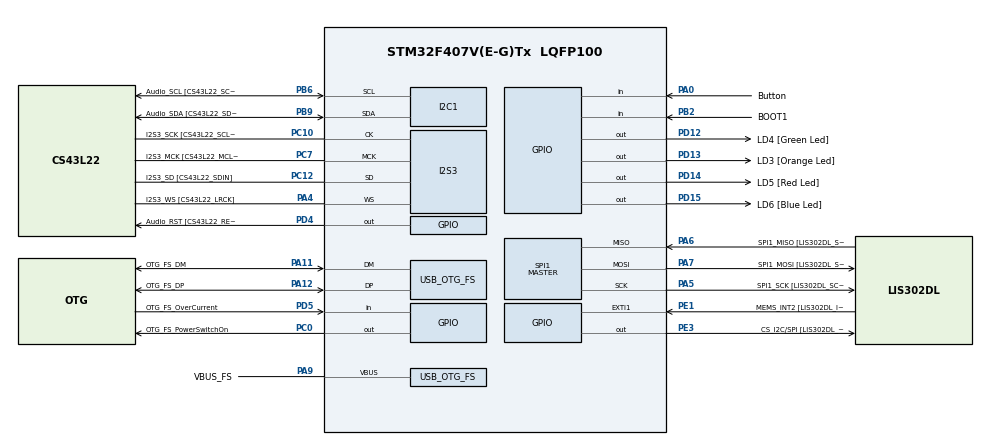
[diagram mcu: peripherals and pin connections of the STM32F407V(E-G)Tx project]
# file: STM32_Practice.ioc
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I2S3.AudioFreq-Half_Duplex_Master=I2S_AUDIOFREQ_96K
I2S3.ErrorAudioFreq=-2.34 %
I2S3.ErrorAudioFreq-Half_Duplex_Master=0.8 %
I2S3.FullDuplexMode=I2S_FULLDUPLEXMODE_DISABLE
I2S3.Instance=SPI$Index
I2S3.RealAudioFreq=93.75 KHz
I2S3.RealAudioFreq-Half_Duplex_Master=96.774 KHz
I2S3.VirtualMode=I2S_MODE_MASTER
Mcu.Family=STM32F4
Mcu.Name=STM32F407V(E-G)Tx
Mcu.Package=LQFP100
NVIC.OTG_FS_IRQn=true\:0\:0\:false\:false\:true\:true\:true\:true
NVIC.PriorityGroup=NVIC_PRIORITYGROUP_0
PA0-WKUP.GPIO_Label=Button
PA0-WKUP.Signal=GPIO_Input
PA10.GPIO_Label=OTG_FS_ID
PA10.GPIO_Mode=GPIO_MODE_AF_PP
PA10.GPIO_PuPd=GPIO_NOPULL
PA10.GPIO_Speed=GPIO_SPEED_FREQ_LOW
PA10.Signal=USB_OTG_FS_ID
PA11.GPIO_Label=OTG_FS_DM
PA11.GPIO_Mode=GPIO_MODE_AF_PP
PA11.GPIO_PuPd=GPIO_NOPULL
PA11.GPIO_Speed=GPIO_SPEED_FREQ_LOW
PA11.Mode=Host_Only
PA11.Signal=USB_OTG_FS_DM
PA12.GPIO_Label=OTG_FS_DP
PA12.GPIO_Mode=GPIO_MODE_AF_PP
PA12.GPIO_PuPd=GPIO_NOPULL
PA12.GPIO_Speed=GPIO_SPEED_FREQ_LOW
PA12.Mode=Host_Only
PA12.Signal=USB_OTG_FS_DP
PA13.GPIO_Label=SWDIO
PA13.Mode=Serial_Wire
PA13.Signal=SYS_JTMS-SWDIO
PA14.GPIO_Label=SWCLK
PA14.Mode=Serial_Wire
PA14.Signal=SYS_JTCK-SWCLK
PA4.GPIO_Label=I2S3_WS [CS43L22_LRCK]
PA4.GPIO_Mode=GPIO_MODE_AF_PP
PA4.GPIO_PuPd=GPIO_NOPULL
PA4.GPIO_Speed=GPIO_SPEED_FREQ_LOW
PA4.Mode=Half_Duplex_Master
PA4.Signal=I2S3_WS
PA5.GPIO_Label=SPI1_SCK [LIS302DL_SCL/SPC]
PA5.GPIO_Mode=GPIO_MODE_AF_PP
PA5.GPIO_PuPd=GPIO_NOPULL
PA5.GPIO_Speed=GPIO_SPEED_FREQ_LOW
PA5.Mode=Full_Duplex_Master
PA5.Signal=SPI1_SCK
PA6.GPIO_Label=SPI1_MISO [LIS302DL_SDO]
PA6.GPIO_Mode=GPIO_MODE_AF_PP
PA6.GPIO_PuPd=GPIO_NOPULL
PA6.GPIO_Speed=GPIO_SPEED_FREQ_LOW
PA6.Mode=Full_Duplex_Master
PA6.Signal=SPI1_MISO
PA7.GPIO_Label=SPI1_MOSI [LIS302DL_SDA/SDI/SDO]
PA7.GPIO_Mode=GPIO_MODE_AF_PP
PA7.GPIO_PuPd=GPIO_NOPULL
PA7.GPIO_Speed=GPIO_SPEED_FREQ_LOW
PA7.Mode=Full_Duplex_Master
PA7.Signal=SPI1_MOSI
PA9.GPIO_Label=VBUS_FS
PA9.GPIO_Mode=GPIO_MODE_INPUT
PA9.GPIO_PuPd=GPIO_NOPULL
PA9.Mode=Activate_VBUS
PA9.Signal=USB_OTG_FS_VBUS
PB10.GPIO_Label=CLK_IN [MP45DT02_CLK]
PB10.GPIO_Mode=GPIO_MODE_AF_PP
PB10.GPIO_PuPd=GPIO_NOPULL
PB10.GPIO_Speed=GPIO_SPEED_FREQ_LOW
PB10.Signal=I2S2_CK
PB2.GPIO_Label=BOOT1
PB2.GPIO_Mode=GPIO_MODE_INPUT
PB2.GPIO_PuPd=GPIO_NOPULL
PB2.Signal=GPIO_Input
PB3.GPIO_Label=SWO
PB3.Signal=SYS_JTDO-SWO
PB6.GPIO_Label=Audio_SCL [CS43L22_SCL]
PB6.GPIO_Mode=GPIO_MODE_AF_OD
PB6.GPIO_Pu=GPIO_PULLUP
PB6.GPIO_PuPd=GPIO_NOPULL
PB6.GPIO_Speed=GPIO_SPEED_FREQ_LOW
PB6.Mode=I2C
PB6.Signal=I2C1_SCL
PB9.GPIO_Label=Audio_SDA [CS43L22_SDA]
PB9.GPIO_Mode=GPIO_MODE_AF_OD
PB9.GPIO_Pu=GPIO_PULLUP
PB9.GPIO_PuPd=GPIO_NOPULL
PB9.GPIO_Speed=GPIO_SPEED_FREQ_LOW
PB9.Mode=I2C
PB9.Signal=I2C1_SDA
PC0.GPIO_Label=OTG_FS_PowerSwitchOn
PC0.GPIO_PuPd=GPIO_NOPULL
PC0.GPIO_Speed=GPIO_SPEED_FREQ_LOW
PC0.PinState=GPIO_PIN_SET
PC0.Signal=GPIO_Output
PC10.GPIO_Label=I2S3_SCK [CS43L22_SCLK]
PC10.GPIO_Mode=GPIO_MODE_AF_PP
PC10.GPIO_PuPd=GPIO_NOPULL
PC10.GPIO_Speed=GPIO_SPEED_FREQ_LOW
PC10.Mode=Half_Duplex_Master
PC10.Signal=I2S3_CK
PC12.GPIO_Label=I2S3_SD [CS43L22_SDIN]
PC12.GPIO_Mode=GPIO_MODE_AF_PP
PC12.GPIO_PuPd=GPIO_NOPULL
PC12.GPIO_Speed=GPIO_SPEED_FREQ_LOW
PC12.Mode=Half_Duplex_Master
PC12.Signal=I2S3_SD
PC14-OSC32_IN.GPIO_Label=PC14-OSC32_IN
PC14-OSC32_IN.Mode=LSE-External-Oscillator
PC14-OSC32_IN.Signal=RCC_OSC32_IN
PC15-OSC32_OUT.GPIO_Label=PC15-OSC32_OUT
PC15-OSC32_OUT.Mode=LSE-External-Oscillator
PC15-OSC32_OUT.Signal=RCC_OSC32_OUT
PC3.GPIO_Label=PDM_OUT [MP45DT02_DOUT]
PC3.GPIO_Mode=GPIO_MODE_AF_PP
PC3.GPIO_PuPd=GPIO_NOPULL
PC3.GPIO_Speed=GPIO_SPEED_FREQ_LOW
PC3.Signal=I2S2_SD
PC7.GPIO_Label=I2S3_MCK [CS43L22_MCLK]
PC7.GPIO_Mode=GPIO_MODE_AF_PP
PC7.GPIO_PuPd=GPIO_NOPULL
PC7.GPIO_Speed=GPIO_SPEED_FREQ_LOW
PC7.Mode=Master_Clock_Activated
PC7.Signal=I2S3_MCK
PD12.GPIO_Label=LD4 [Green Led]
PD12.GPIO_PuPd=GPIO_NOPULL
PD12.GPIO_Speed=GPIO_SPEED_FREQ_LOW
PD12.Signal=GPIO_Output
PD13.GPIO_Label=LD3 [Orange Led]
PD13.GPIO_PuPd=GPIO_NOPULL
PD13.GPIO_Speed=GPIO_SPEED_FREQ_LOW
PD13.Signal=GPIO_Output
PD14.GPIO_Label=LD5 [Red Led]
PD14.GPIO_PuPd=GPIO_NOPULL
PD14.GPIO_Speed=GPIO_SPEED_FREQ_LOW
PD14.Signal=GPIO_Output
PD15.GPIO_Label=LD6 [Blue Led]
PD15.GPIO_PuPd=GPIO_NOPULL
PD15.GPIO_Speed=GPIO_SPEED_FREQ_LOW
PD15.Signal=GPIO_Output
PD4.GPIO_Label=Audio_RST [CS43L22_RESET]
PD4.GPIO_PuPd=GPIO_NOPULL
PD4.GPIO_Speed=GPIO_SPEED_FREQ_LOW
PD4.Signal=GPIO_Output
PD5.GPIO_Label=OTG_FS_OverCurrent
PD5.GPIO_Mode=GPIO_MODE_INPUT
PD5.GPIO_PuPd=GPIO_NOPULL
PD5.Signal=GPIO_Input
PE1.GPIO_Label=MEMS_INT2 [LIS302DL_INT2]
PE1.GPIO_ModeDefaultEXTI=GPIO_MODE_EVT_RISING
PE1.GPIO_PuPd=GPIO_NOPULL
PE1.Signal=GPXTI1
PE3.GPIO_Label=CS_I2C/SPI [LIS302DL_CS_I2C/SPI]
PE3.GPIO_PuPd=GPIO_NOPULL
PE3.GPIO_Speed=GPIO_SPEED_FREQ_LOW
PE3.Signal=GPIO_Output
PH0-OSC_IN.GPIO_Label=PH0-OSC_IN
PH0-OSC_IN.Mode=HSE-External-Oscillator
PH0-OSC_IN.Signal=RCC_OSC_IN
PH1-OSC_OUT.GPIO_Label=PH1-OSC_OUT
PH1-OSC_OUT.Mode=HSE-External-Oscillator
PH1-OSC_OUT.Signal=RCC_OSC_OUT
ProjectManager.HeapSize=0x200
ProjectManager.StackSize=0x400
ProjectManager.TargetToolchain=STM32CubeIDE
RCC.48MHZClocksFreq_Value=48000000
RCC.AHBFreq_Value=168000000
RCC.APB1CLKDivider=RCC_HCLK_DIV4
RCC.APB1Freq_Value=42000000
RCC.APB1TimFreq_Value=84000000
RCC.APB2CLKDivider=RCC_HCLK_DIV2
RCC.APB2Freq_Value=84000000
RCC.APB2TimFreq_Value=168000000
RCC.CortexFreq_Value=168000000
RCC.HCLKFreq_Value=168000000
RCC.HSE_VALUE=8000000
RCC.HSI_VALUE=16000000
RCC.PLLM=8
RCC.PLLN=336
RCC.PLLQ=7
RCC.SYSCLKFreq_VALUE=168000000
RCC.SYSCLKSource=RCC_SYSCLKSOURCE_PLLCLK
RCC.VCOOutputFreq_Value=336000000
SPI1.BaudRatePrescaler-Full_Duplex_Master=SPI_BAUDRATEPRESCALER_2
SPI1.CalculateBaudRate-Full_Duplex_Master=42.0 MBits/s
SPI1.Direction=SPI_DIRECTION_2LINES
SPI1.Mode=SPI_MODE_MASTER
SPI1.Mode-Full_Duplex_Master=SPI_MODE_MASTER
SPI1.VirtualType=VM_MASTER
USB_HOST.BSP.number=1
USB_HOST.USBH_HandleTypeDef-CDC_FS=hUsbHostFS
USB_HOST.VirtualModeFS=Cdc
USB_HOST0.BSP.STBoard=false
USB_HOST0.BSP.api=Unknown
USB_HOST0.BSP.instance=PC0
USB_HOST0.BSP.ip=GPIO
USB_HOST0.BSP.mode=Output
USB_HOST0.BSP.name=Drive_VBUS_FS
USB_HOST0.BSP.solution=PC0
USB_OTG_FS.VirtualMode=Host_Only
USB_OTG_FS.phy_itface=HCD_PHY_EMBEDDED
VP_USB_HOST_VS_USB_HOST_CDC_FS.Mode=CDC_FS
board=STM32F407G-DISC1

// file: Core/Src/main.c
	/* USER CODE BEGIN Header */
	/**
	  ******************************************************************************
	  * @file           : main.c
	  * @brief          : Main program body
	  ******************************************************************************
	  * @attention
	  *
	  * Copyright (c) 2026 STMicroelectronics.
	  * All rights reserved.
	  *
	  * This software is licensed under terms that can be found in the LICENSE file
	  * in the root directory of this software component.
	  * If no LICENSE file comes with this software, it is provided AS-IS.
	  *
	  ******************************************************************************
	  */
	/* USER CODE END Header */
	/* Includes ------------------------------------------------------------------*/
	#include "main.h"
	#include "usb_host.h"

	/* Private includes ----------------------------------------------------------*/

	/* Private typedef -----------------------------------------------------------*/

	/* Private define ------------------------------------------------------------*/

	/* Private macro -------------------------------------------------------------*/

	/* Private variables ---------------------------------------------------------*/
	I2C_HandleTypeDef hi2c1;

	I2S_HandleTypeDef hi2s3;

	SPI_HandleTypeDef hspi1;

	/* USER CODE BEGIN PV */

	int Delay = 500;

	/* USER CODE END PV */

	/* Private function prototypes -----------------------------------------------*/
	void SystemClock_Config(void);
	static void MX_GPIO_Init(void);
	static void MX_I2C1_Init(void);
	static void MX_I2S3_Init(void);
	static void MX_SPI1_Init(void);
	void MX_USB_HOST_Process(void);

	/* Private user code ---------------------------------------------------------*/

	/**
	  * @brief  The application entry point.
	  * @retval int
	  */
	int main(void)
	{

	  /* MCU Configuration--------------------------------------------------------*/

	  /* Reset of all peripherals, Initializes the Flash interface and the Systick. */
	  HAL_Init();

	  /* Configure the system clock */
	  SystemClock_Config();

	  /* Initialize all configured peripherals */
	  MX_GPIO_Init();
	  MX_I2C1_Init();
	  MX_I2S3_Init();
	  MX_SPI1_Init();
	  MX_USB_HOST_Init();

	  /* Infinite loop */
	  while (1)
	  {
		MX_USB_HOST_Process();

		/* USER CODE BEGIN 3 */
		//led toggle

		if(HAL_GPIO_ReadPin(Button_GPIO_Port, Button_Pin)){

			if(Delay>0){
				Delay-=100;
			}
			HAL_Delay(Delay);
			HAL_GPIO_WritePin(LD3_GPIO_Port, LD3_Pin, 1);
			HAL_Delay(Delay);
			HAL_GPIO_WritePin(LD4_GPIO_Port, LD4_Pin, 1);
			HAL_Delay(Delay);
			HAL_GPIO_WritePin(LD5_GPIO_Port, LD5_Pin, 1);
			HAL_Delay(Delay);
			HAL_GPIO_WritePin(LD6_GPIO_Port, LD6_Pin, 1);
			HAL_Delay(Delay);
			HAL_GPIO_WritePin(LD3_GPIO_Port, LD3_Pin, 0);
			HAL_Delay(Delay);
			HAL_GPIO_WritePin(LD4_GPIO_Port, LD4_Pin, 0);
			HAL_Delay(Delay);
		    HAL_GPIO_WritePin(LD5_GPIO_Port, LD5_Pin, 0);
			HAL_Delay(Delay);
			HAL_GPIO_WritePin(LD6_GPIO_Port, LD6_Pin, 0);
			HAL_Delay(Delay);
			HAL_GPIO_WritePin(LD6_GPIO_Port, LD6_Pin, 1);
			HAL_Delay(Delay);
			HAL_GPIO_WritePin(LD5_GPIO_Port, LD5_Pin, 1);
			HAL_Delay(Delay);
			HAL_GPIO_WritePin(LD4_GPIO_Port, LD4_Pin, 1);
			HAL_Delay(Delay);
			HAL_GPIO_WritePin(LD3_GPIO_Port, LD3_Pin, 1);

		}

	  }
	  /* USER CODE END 3 */
	}

	/**
	  * @brief System Clock Configuration
	  * @retval None
	  */
	void SystemClock_Config(void)
	{
	  RCC_OscInitTypeDef RCC_OscInitStruct = {0};
	  RCC_ClkInitTypeDef RCC_ClkInitStruct = {0};

	  /** Configure the main internal regulator output voltage
	  */
	  __HAL_RCC_PWR_CLK_ENABLE();
	  __HAL_PWR_VOLTAGESCALING_CONFIG(PWR_REGULATOR_VOLTAGE_SCALE1);

	  /** Initializes the RCC Oscillators according to the specified parameters
	  * in the RCC_OscInitTypeDef structure.
	  */
	  RCC_OscInitStruct.OscillatorType = RCC_OSCILLATORTYPE_HSE;
	  RCC_OscInitStruct.HSEState = RCC_HSE_ON;
	  RCC_OscInitStruct.PLL.PLLState = RCC_PLL_ON;
	  RCC_OscInitStruct.PLL.PLLSource = RCC_PLLSOURCE_HSE;
	  RCC_OscInitStruct.PLL.PLLM = 8;
	  RCC_OscInitStruct.PLL.PLLN = 336;
	  RCC_OscInitStruct.PLL.PLLP = RCC_PLLP_DIV2;
	  RCC_OscInitStruct.PLL.PLLQ = 7;
	  if (HAL_RCC_OscConfig(&RCC_OscInitStruct) != HAL_OK)
	  {
		Error_Handler();
	  }

	  /** Initializes the CPU, AHB and APB buses clocks
	  */
	  RCC_ClkInitStruct.ClockType = RCC_CLOCKTYPE_HCLK|RCC_CLOCKTYPE_SYSCLK
								  |RCC_CLOCKTYPE_PCLK1|RCC_CLOCKTYPE_PCLK2;
	  RCC_ClkInitStruct.SYSCLKSource = RCC_SYSCLKSOURCE_PLLCLK;
	  RCC_ClkInitStruct.AHBCLKDivider = RCC_SYSCLK_DIV1;
	  RCC_ClkInitStruct.APB1CLKDivider = RCC_HCLK_DIV4;
	  RCC_ClkInitStruct.APB2CLKDivider = RCC_HCLK_DIV2;

	  if (HAL_RCC_ClockConfig(&RCC_ClkInitStruct, FLASH_LATENCY_5) != HAL_OK)
	  {
		Error_Handler();
	  }
	}

	/**
	  * @brief I2C1 Initialization Function
	  * @param None
	  * @retval None
	  */
	static void MX_I2C1_Init(void)
	{

	  hi2c1.Instance = I2C1;
	  hi2c1.Init.ClockSpeed = 100000;
	  hi2c1.Init.DutyCycle = I2C_DUTYCYCLE_2;
	  hi2c1.Init.OwnAddress1 = 0;
	  hi2c1.Init.AddressingMode = I2C_ADDRESSINGMODE_7BIT;
	  hi2c1.Init.DualAddressMode = I2C_DUALADDRESS_DISABLE;
	  hi2c1.Init.OwnAddress2 = 0;
	  hi2c1.Init.GeneralCallMode = I2C_GENERALCALL_DISABLE;
	  hi2c1.Init.NoStretchMode = I2C_NOSTRETCH_DISABLE;
	  if (HAL_I2C_Init(&hi2c1) != HAL_OK)
	  {
		Error_Handler();
	  }

	}

	/**
	  * @brief I2S3 Initialization Function
	  * @param None
	  * @retval None
	  */
	static void MX_I2S3_Init(void)
	{

	  hi2s3.Instance = SPI3;
	  hi2s3.Init.Mode = I2S_MODE_MASTER_TX;
	  hi2s3.Init.Standard = I2S_STANDARD_PHILIPS;
	  hi2s3.Init.DataFormat = I2S_DATAFORMAT_16B;
	  hi2s3.Init.MCLKOutput = I2S_MCLKOUTPUT_ENABLE;
	  hi2s3.Init.AudioFreq = I2S_AUDIOFREQ_96K;
	  hi2s3.Init.CPOL = I2S_CPOL_LOW;
	  hi2s3.Init.ClockSource = I2S_CLOCK_PLL;
	  hi2s3.Init.FullDuplexMode = I2S_FULLDUPLEXMODE_DISABLE;
	  if (HAL_I2S_Init(&hi2s3) != HAL_OK)
	  {
		Error_Handler();
	  }

	}

	/**
	  * @brief SPI1 Initialization Function
	  * @param None
	  * @retval None
	  */
	static void MX_SPI1_Init(void)
	{

	  /* SPI1 parameter configuration*/
	  hspi1.Instance = SPI1;
	  hspi1.Init.Mode = SPI_MODE_MASTER;
	  hspi1.Init.Direction = SPI_DIRECTION_2LINES;
	  hspi1.Init.DataSize = SPI_DATASIZE_8BIT;
	  hspi1.Init.CLKPolarity = SPI_POLARITY_LOW;
	  hspi1.Init.CLKPhase = SPI_PHASE_1EDGE;
	  hspi1.Init.NSS = SPI_NSS_SOFT;
	  hspi1.Init.BaudRatePrescaler = SPI_BAUDRATEPRESCALER_2;
	  hspi1.Init.FirstBit = SPI_FIRSTBIT_MSB;
	  hspi1.Init.TIMode = SPI_TIMODE_DISABLE;
	  hspi1.Init.CRCCalculation = SPI_CRCCALCULATION_DISABLE;
	  hspi1.Init.CRCPolynomial = 10;
	  if (HAL_SPI_Init(&hspi1) != HAL_OK)
	  {
		Error_Handler();
	  }

	}

	/**
	  * @brief GPIO Initialization Function
	  * @param None
	  * @retval None
	  */
	static void MX_GPIO_Init(void)
	{
	  GPIO_InitTypeDef GPIO_InitStruct = {0};

	  /* GPIO Ports Clock Enable */
	  __HAL_RCC_GPIOE_CLK_ENABLE();
	  __HAL_RCC_GPIOC_CLK_ENABLE();
	  __HAL_RCC_GPIOH_CLK_ENABLE();
	  __HAL_RCC_GPIOA_CLK_ENABLE();
	  __HAL_RCC_GPIOB_CLK_ENABLE();
	  __HAL_RCC_GPIOD_CLK_ENABLE();

	  /*Configure GPIO pin Output Level */
	  HAL_GPIO_WritePin(CS_I2C_SPI_GPIO_Port, CS_I2C_SPI_Pin, GPIO_PIN_RESET);

	  /*Configure GPIO pin Output Level */
	  HAL_GPIO_WritePin(OTG_FS_PowerSwitchOn_GPIO_Port, OTG_FS_PowerSwitchOn_Pin, GPIO_PIN_SET);

	  /*Configure GPIO pin Output Level */
	  HAL_GPIO_WritePin(GPIOD, LD4_Pin|LD3_Pin|LD5_Pin|LD6_Pin
							  |Audio_RST_Pin, GPIO_PIN_RESET);

	  /*Configure GPIO pin : CS_I2C_SPI_Pin */
	  GPIO_InitStruct.Pin = CS_I2C_SPI_Pin;
	  GPIO_InitStruct.Mode = GPIO_MODE_OUTPUT_PP;
	  GPIO_InitStruct.Pull = GPIO_NOPULL;
	  GPIO_InitStruct.Speed = GPIO_SPEED_FREQ_LOW;
	  HAL_GPIO_Init(CS_I2C_SPI_GPIO_Port, &GPIO_InitStruct);

	  /*Configure GPIO pin : OTG_FS_PowerSwitchOn_Pin */
	  GPIO_InitStruct.Pin = OTG_FS_PowerSwitchOn_Pin;
	  GPIO_InitStruct.Mode = GPIO_MODE_OUTPUT_PP;
	  GPIO_InitStruct.Pull = GPIO_NOPULL;
	  GPIO_InitStruct.Speed = GPIO_SPEED_FREQ_LOW;
	  HAL_GPIO_Init(OTG_FS_PowerSwitchOn_GPIO_Port, &GPIO_InitStruct);

	  /*Configure GPIO pin : PDM_OUT_Pin */
	  GPIO_InitStruct.Pin = PDM_OUT_Pin;
	  GPIO_InitStruct.Mode = GPIO_MODE_AF_PP;
	  GPIO_InitStruct.Pull = GPIO_NOPULL;
	  GPIO_InitStruct.Speed = GPIO_SPEED_FREQ_LOW;
	  GPIO_InitStruct.Alternate = GPIO_AF5_SPI2;
	  HAL_GPIO_Init(PDM_OUT_GPIO_Port, &GPIO_InitStruct);

	  /*Configure GPIO pin : Button_Pin */
	  GPIO_InitStruct.Pin = Button_Pin;
	  GPIO_InitStruct.Mode = GPIO_MODE_INPUT;
	  GPIO_InitStruct.Pull = GPIO_NOPULL;
	  HAL_GPIO_Init(Button_GPIO_Port, &GPIO_InitStruct);

	  /*Configure GPIO pin : BOOT1_Pin */
	  GPIO_InitStruct.Pin = BOOT1_Pin;
	  GPIO_InitStruct.Mode = GPIO_MODE_INPUT;
	  GPIO_InitStruct.Pull = GPIO_NOPULL;
	  HAL_GPIO_Init(BOOT1_GPIO_Port, &GPIO_InitStruct);

	  /*Configure GPIO pin : CLK_IN_Pin */
	  GPIO_InitStruct.Pin = CLK_IN_Pin;
	  GPIO_InitStruct.Mode = GPIO_MODE_AF_PP;
	  GPIO_InitStruct.Pull = GPIO_NOPULL;
	  GPIO_InitStruct.Speed = GPIO_SPEED_FREQ_LOW;
	  GPIO_InitStruct.Alternate = GPIO_AF5_SPI2;
	  HAL_GPIO_Init(CLK_IN_GPIO_Port, &GPIO_InitStruct);

	  /*Configure GPIO pins : LD4_Pin LD3_Pin LD5_Pin LD6_Pin
							   Audio_RST_Pin */
	  GPIO_InitStruct.Pin = LD4_Pin|LD3_Pin|LD5_Pin|LD6_Pin
							  |Audio_RST_Pin;
	  GPIO_InitStruct.Mode = GPIO_MODE_OUTPUT_PP;
	  GPIO_InitStruct.Pull = GPIO_NOPULL;
	  GPIO_InitStruct.Speed = GPIO_SPEED_FREQ_LOW;
	  HAL_GPIO_Init(GPIOD, &GPIO_InitStruct);

	  /*Configure GPIO pin : OTG_FS_OverCurrent_Pin */
	  GPIO_InitStruct.Pin = OTG_FS_OverCurrent_Pin;
	  GPIO_InitStruct.Mode = GPIO_MODE_INPUT;
	  GPIO_InitStruct.Pull = GPIO_NOPULL;
	  HAL_GPIO_Init(OTG_FS_OverCurrent_GPIO_Port, &GPIO_InitStruct);

	  /*Configure GPIO pin : MEMS_INT2_Pin */
	  GPIO_InitStruct.Pin = MEMS_INT2_Pin;
	  GPIO_InitStruct.Mode = GPIO_MODE_EVT_RISING;
	  GPIO_InitStruct.Pull = GPIO_NOPULL;
	  HAL_GPIO_Init(MEMS_INT2_GPIO_Port, &GPIO_InitStruct);

	}

	/**
	  * @brief  This function is executed in case of error occurrence.
	  * @retval None
	  */
	void Error_Handler(void)
	{
	  __disable_irq();
	  while (1)
	  {
	  }
	}

	#ifdef  USE_FULL_ASSERT
	/**
	  * @brief  Reports the name of the source file and the source line number
	  *         where the assert_param error has occurred.
	  * @param  file: pointer to the source file name
	  * @param  line: assert_param error line source number
	  * @retval None
	  */
	void assert_failed(uint8_t *file, uint32_t line)
	{
	}
	#endif /* USE_FULL_ASSERT */
